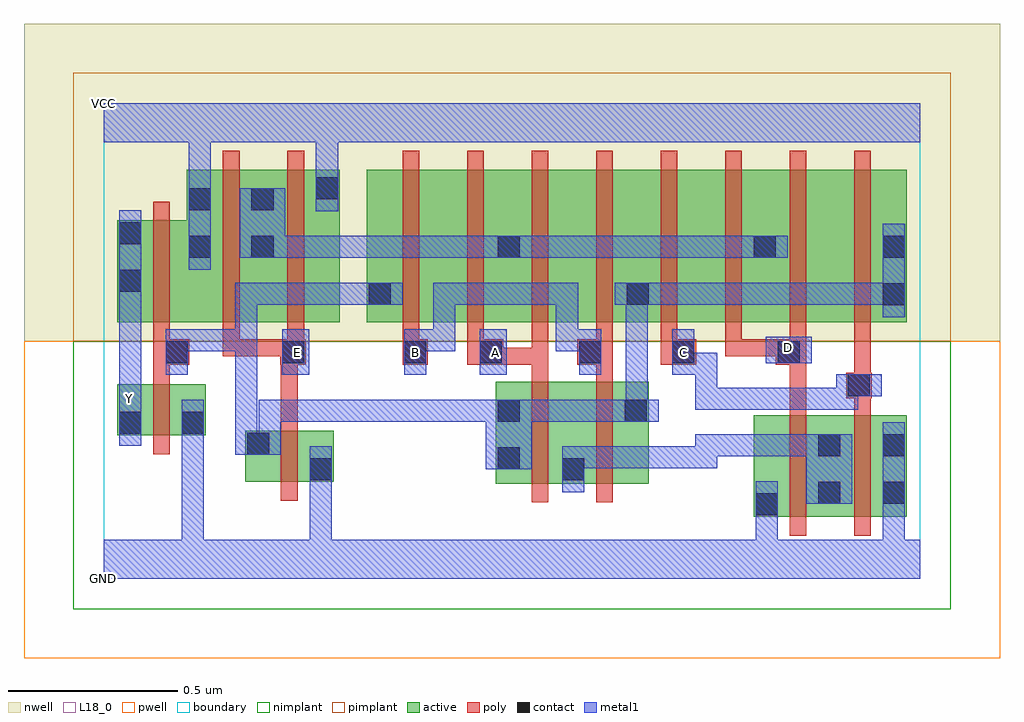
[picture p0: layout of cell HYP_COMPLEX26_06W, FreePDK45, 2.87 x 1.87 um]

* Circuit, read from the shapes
.subckt HYP_COMPLEX26_06W A B C D E GND VCC Y
M1 GND n1 Y VSUBS nfet w=0.15u l=0.05u
M2 GND E n1 VSUBS nfet w=0.15u l=0.05u
M3 n2 A n1 VSUBS nfet w=0.3u l=0.05u
M4 n1 B n2 VSUBS nfet w=0.3u l=0.05u
M5 n2 D GND VSUBS nfet w=0.3u l=0.05u
M6 GND C n2 VSUBS nfet w=0.3u l=0.05u
M7 VCC n1 Y n3 pfet w=0.3u l=0.05u
M8 n4 E VCC n3 pfet w=0.45u l=0.05u m=2
M9 n5 B n1 n3 pfet w=0.45u l=0.05u
M10 n4 A n5 n3 pfet w=0.45u l=0.05u
M11 n6 A n4 n3 pfet w=0.45u l=0.05u
M12 n1 B n6 n3 pfet w=0.45u l=0.05u
M13 n7 C n1 n3 pfet w=0.45u l=0.05u
M14 n4 D n7 n3 pfet w=0.45u l=0.05u
M15 n8 D n4 n3 pfet w=0.45u l=0.05u
M16 n1 C n8 n3 pfet w=0.45u l=0.05u
.ends

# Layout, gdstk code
import gdstk
lib = gdstk.Library(unit=1e-6, precision=1e-09)
def R(c, l, rs):  # rectangles x0, y0, x1, y1
    for r in rs: c.add(gdstk.rectangle(r[:2], r[2:], *l))
def A(c, l, x, y, w, h, nx, ny, dx, dy):  # array of equal rectangles
    R(c, l, [(x+i*dx, y+j*dy, x+i*dx+w, y+j*dy+h) for i in range(nx) for j in range(ny)])
active = (1, 0)
pwell = (2, 0)
nwell = (3, 0)
nimplant = (4, 0)
pimplant = (5, 0)
poly = (9, 0)
contact = (10, 0)
metal1 = (11, 0)
L18_0 = (18, 0)
boundary = (235, 0)

hyp_complex26_06w = lib.new_cell('HYP_COMPLEX26_06W')
A(hyp_complex26_06w, active, 0.775, 0.755, 0.225, 0.45, 3, 1, 0.38, 0)
R(hyp_complex26_06w, active, [(1.915,0.182,2.175,0.482), (1.915,0.182,1.99,0.392), (2.1,0.182,2.365,0.482), (2.29,0.182,2.365,0.482), (2.1,0.2,2.175,0.43), (1.155,0.28,1.23,0.58), (1.155,0.28,1.42,0.58), (1.345,0.28,1.605,0.58), (1.345,0.28,1.42,0.392), (0.417,0.285,0.492,0.435), (0.417,0.285,0.677,0.435), (0.602,0.285,0.677,0.435), (1.53,0.33,1.605,0.58), (0.04,0.422,0.115,0.572), (0.04,0.422,0.3,0.572), (0.225,0.422,0.3,0.572), (0.04,0.755,0.115,1.055), (0.04,0.755,0.32,1.055), (0.245,0.755,0.505,1.205), (0.245,0.755,0.32,1.205), (0.43,0.755,0.505,1.2), (0.43,0.755,0.695,1.205), (0.775,0.755,0.88,1.047), (1,0.755,1.23,1.205), (1.155,0.755,1.23,1.2), (1.38,0.755,1.61,1.205), (1.535,0.755,1.61,1.07), (1.76,0.755,1.985,1.205), (1.91,0.755,1.985,1.2), (1.91,0.755,2.14,1.205), (2.14,0.755,2.365,1.205), (2.29,0.755,2.365,1.2), (0.62,0.857,0.695,1.205)])
R(hyp_complex26_06w, pwell, [(-0.235,-0.235,2.64,0.7)])
R(hyp_complex26_06w, nwell, [(-0.235,0.7,2.64,1.635)])
R(hyp_complex26_06w, nimplant, [(-0.09,-0.09,2.495,0.7)])
R(hyp_complex26_06w, pimplant, [(-0.09,0.7,2.495,1.49)])
A(hyp_complex26_06w, poly, 1.45, 0.655, 0.05, 0.095, 4, 1, 0.19, 0)
A(hyp_complex26_06w, poly, 0.88, 0.7, 0.05, 0.56, 8, 1, 0.19, 0)
R(hyp_complex26_06w, poly, [(2.02,0.127,2.07,0.537), (2.21,0.127,2.26,0.537), (1.26,0.225,1.31,0.635), (1.45,0.225,1.5,0.635), (0.522,0.23,0.572,0.49), (0.145,0.367,0.195,0.627), (0.522,0.44,0.572,0.68), (2.02,0.487,2.07,0.68), (2.21,0.487,2.26,0.582), (2.187,0.532,2.262,0.607), (2.21,0.557,2.26,0.75), (0.145,0.577,0.195,0.68), (1.26,0.585,1.31,0.68), (1.45,0.585,1.5,0.68), (0.145,0.63,0.252,0.705), (0.52,0.63,0.595,0.705), (0.88,0.63,0.955,0.705), (1.07,0.63,1.177,0.705), (1.127,0.63,1.177,0.68), (1.127,0.63,1.177,0.68), (1.127,0.63,1.31,0.68), (1.26,0.63,1.31,0.68), (1.26,0.63,1.31,0.75), (1.395,0.63,1.5,0.705), (1.64,0.63,1.745,0.705), (1.98,0.63,2.07,0.705), (0.145,0.655,0.195,0.75), (0.35,0.655,0.4,0.75), (0.35,0.655,0.4,0.705), (0.35,0.655,0.4,0.705), (0.35,0.655,0.4,0.705), (0.35,0.655,0.57,0.705), (0.54,0.655,0.59,0.75), (0.88,0.655,0.93,0.75), (1.07,0.655,1.12,0.75), (1.83,0.655,1.88,0.705), (1.83,0.655,2.03,0.705), (1.98,0.655,2.03,0.705), (1.98,0.655,2.03,0.705), (0.145,0.7,0.195,1.11), (0.35,0.7,0.4,1.26), (0.54,0.7,0.59,1.26)])
R(hyp_complex26_06w, contact, [(1.92,0.187,1.985,0.252), (2.105,0.22,2.17,0.285), (2.295,0.22,2.36,0.285), (0.607,0.29,0.672,0.355), (1.35,0.29,1.415,0.355), (1.16,0.322,1.225,0.387), (2.105,0.36,2.17,0.425), (2.295,0.36,2.36,0.425), (0.422,0.365,0.487,0.43), (0.045,0.427,0.11,0.492), (0.23,0.427,0.295,0.492), (1.16,0.462,1.225,0.527), (1.535,0.462,1.6,0.527), (2.192,0.537,2.257,0.602), (0.182,0.635,0.247,0.7), (0.525,0.635,0.59,0.7), (0.885,0.635,0.95,0.7), (1.107,0.635,1.172,0.7), (1.4,0.635,1.465,0.7), (1.675,0.635,1.74,0.7), (1.985,0.635,2.05,0.7), (2.295,0.805,2.36,0.87), (0.78,0.807,0.845,0.872), (1.54,0.807,1.605,0.872), (0.045,0.845,0.11,0.91), (0.25,0.945,0.315,1.01), (0.435,0.945,0.5,1.01), (1.16,0.945,1.225,1.01), (1.915,0.945,1.98,1.01), (2.295,0.945,2.36,1.01), (0.045,0.985,0.11,1.05), (0.25,1.085,0.315,1.15), (0.435,1.085,0.5,1.15), (0.625,1.117,0.69,1.182)])
R(hyp_complex26_06w, metal1, [(0,0,2.405,0.115), (0.23,0.05,0.295,0.115), (0.23,0.05,0.295,0.115), (0.23,0.05,0.295,0.115), (0.23,0.05,0.295,0.115), (0.23,0.05,0.295,0.115), (0.23,0.05,0.295,0.115), (0.23,0.05,0.295,0.457), (0.607,0.05,0.672,0.32), (1.92,0.05,1.985,0.217), (2.295,0.05,2.36,0.115), (2.295,0.05,2.36,0.115), (2.295,0.05,2.36,0.115), (2.295,0.05,2.36,0.115), (2.295,0.05,2.36,0.25), (1.92,0.152,1.985,0.217), (1.92,0.152,1.985,0.217), (1.92,0.152,1.985,0.217), (1.92,0.152,1.985,0.217), (1.92,0.152,1.985,0.287), (2.295,0.185,2.36,0.46), (2.07,0.22,2.205,0.425), (0.607,0.255,0.672,0.32), (0.607,0.255,0.672,0.32), (0.607,0.255,0.672,0.32), (0.607,0.255,0.672,0.32), (0.607,0.255,0.672,0.32), (0.607,0.255,0.672,0.32), (0.607,0.255,0.672,0.39), (1.35,0.255,1.415,0.39), (1.125,0.322,1.26,0.527), (1.35,0.325,1.415,0.39), (1.35,0.325,1.415,0.39), (1.35,0.325,1.602,0.39), (1.537,0.325,1.602,0.39), (1.537,0.325,1.602,0.39), (1.537,0.325,1.602,0.39), (1.537,0.325,1.807,0.39), (1.742,0.325,1.807,0.425), (1.742,0.36,1.877,0.425), (1.812,0.36,1.877,0.425), (1.812,0.36,1.997,0.425), (1.932,0.36,1.997,0.425), (1.932,0.36,2.085,0.425), (2.02,0.36,2.085,0.425), (2.02,0.36,2.135,0.425), (0.387,0.365,0.522,0.43), (0.387,0.365,0.452,0.735), (0.457,0.365,0.522,0.43), (0.457,0.365,0.522,0.527), (0.045,0.392,0.11,0.527), (0.23,0.392,0.295,0.527), (0.045,0.462,0.11,0.527), (0.045,0.462,0.11,0.597), (0.457,0.462,0.672,0.527), (0.607,0.462,0.672,0.527), (0.607,0.462,0.81,0.527), (0.745,0.462,0.81,0.527), (0.745,0.462,0.81,0.527), (0.745,0.462,0.81,0.527), (0.745,0.462,1.035,0.527), (0.97,0.462,1.035,0.527), (0.97,0.462,1.087,0.527), (1.022,0.462,1.087,0.527), (1.022,0.462,1.19,0.527), (1.195,0.462,1.26,0.527), (1.195,0.462,1.26,0.527), (1.195,0.462,1.397,0.527), (1.332,0.462,1.397,0.527), (1.332,0.462,1.397,0.527), (1.332,0.462,1.397,0.527), (1.332,0.462,1.565,0.527), (1.5,0.462,1.635,0.527), (1.537,0.462,1.602,0.872), (1.742,0.497,1.807,0.562), (1.742,0.497,1.877,0.562), (1.742,0.497,1.807,0.665), (1.812,0.497,1.877,0.562), (1.812,0.497,1.997,0.562), (1.932,0.497,1.997,0.562), (1.932,0.497,2.015,0.562), (1.95,0.497,2.015,0.562), (1.95,0.497,2.222,0.562), (2.157,0.497,2.222,0.562), (2.157,0.497,2.222,0.602), (0.045,0.532,0.11,0.875), (2.157,0.537,2.222,0.602), (2.157,0.537,2.222,0.602), (2.157,0.537,2.292,0.602), (0.182,0.6,0.247,0.735), (0.525,0.6,0.605,0.735), (0.885,0.6,0.95,0.735), (1.107,0.6,1.187,0.735), (1.4,0.6,1.465,0.735), (1.675,0.6,1.74,0.735), (1.675,0.6,1.807,0.665), (1.742,0.6,1.807,0.665), (1.95,0.635,2.085,0.712), (0.182,0.67,0.247,0.735), (0.182,0.67,0.247,0.735), (0.182,0.67,0.385,0.735), (0.32,0.67,0.385,0.735), (0.32,0.67,0.452,0.735), (0.387,0.67,0.452,0.735), (0.387,0.67,0.452,0.872), (0.885,0.67,1.035,0.735), (0.97,0.67,1.035,0.735), (0.97,0.67,1.035,0.872), (1.332,0.67,1.397,0.735), (1.332,0.67,1.465,0.735), (1.332,0.67,1.397,0.872), (2.295,0.77,2.36,1.045), (0.387,0.807,0.452,0.872), (0.387,0.807,0.672,0.872), (0.607,0.807,0.672,0.872), (0.607,0.807,0.672,0.872), (0.607,0.807,0.672,0.872), (0.607,0.807,0.81,0.872), (0.745,0.807,0.88,0.872), (0.97,0.807,1.035,0.872), (0.97,0.807,1.087,0.872), (1.022,0.807,1.087,0.872), (1.022,0.807,1.225,0.872), (1.16,0.807,1.225,0.872), (1.16,0.807,1.225,0.872), (1.16,0.807,1.225,0.872), (1.16,0.807,1.397,0.872), (1.332,0.807,1.397,0.872), (1.505,0.807,1.64,0.872), (1.537,0.807,1.602,0.872), (1.537,0.807,1.602,0.872), (1.575,0.807,1.64,0.872), (1.575,0.807,1.64,0.872), (1.575,0.807,1.777,0.872), (1.712,0.807,1.777,0.872), (1.712,0.807,1.877,0.872), (1.812,0.807,1.877,0.872), (1.812,0.807,1.997,0.872), (1.932,0.807,1.997,0.872), (1.932,0.807,2.015,0.872), (1.95,0.807,2.015,0.872), (1.95,0.807,2.222,0.872), (2.157,0.807,2.222,0.872), (2.157,0.807,2.36,0.872), (2.295,0.807,2.36,0.872), (2.295,0.807,2.36,0.872), (0.045,0.81,0.11,1.085), (0.25,0.91,0.315,1.185), (0.4,0.945,0.535,1.15), (0.47,0.945,0.535,1.01), (0.47,0.945,0.535,1.01), (0.47,0.945,0.672,1.01), (0.607,0.945,0.672,1.01), (0.607,0.945,0.897,1.01), (0.832,0.945,0.897,1.01), (0.832,0.945,0.897,1.01), (0.832,0.945,0.897,1.01), (0.832,0.945,1.035,1.01), (0.97,0.945,1.035,1.01), (0.97,0.945,1.087,1.01), (1.022,0.945,1.087,1.01), (1.022,0.945,1.19,1.01), (1.125,0.945,1.26,1.01), (1.195,0.945,1.26,1.01), (1.195,0.945,1.26,1.01), (1.195,0.945,1.427,1.01), (1.362,0.945,1.427,1.01), (1.362,0.945,1.427,1.01), (1.362,0.945,1.427,1.01), (1.362,0.945,1.602,1.01), (1.537,0.945,1.602,1.01), (1.537,0.945,1.602,1.01), (1.537,0.945,1.602,1.01), (1.537,0.945,1.777,1.01), (1.712,0.945,1.777,1.01), (1.712,0.945,1.877,1.01), (1.812,0.945,1.877,1.01), (1.812,0.945,1.945,1.01), (1.88,0.945,2.015,1.01), (0.625,1.082,0.69,1.217), (0.25,1.12,0.315,1.35), (0.625,1.152,0.69,1.35), (0,1.285,2.405,1.4)])
R(hyp_complex26_06w, L18_0, [(0,0,2.405,0.115), (0.23,0.05,0.295,0.115), (0.23,0.05,0.295,0.115), (0.23,0.05,0.295,0.115), (0.23,0.05,0.295,0.115), (0.23,0.05,0.295,0.115), (0.23,0.05,0.295,0.115), (0.23,0.05,0.295,0.457), (0.607,0.05,0.672,0.32), (1.92,0.05,1.985,0.217), (2.295,0.05,2.36,0.115), (2.295,0.05,2.36,0.115), (2.295,0.05,2.36,0.115), (2.295,0.05,2.36,0.115), (2.295,0.05,2.36,0.25), (1.92,0.152,1.985,0.287), (1.92,0.152,1.985,0.217), (1.92,0.152,1.985,0.217), (1.92,0.152,1.985,0.217), (1.92,0.152,1.985,0.217), (2.295,0.185,2.36,0.46), (0.607,0.255,0.672,0.39), (0.607,0.255,0.672,0.32), (0.607,0.255,0.672,0.32), (0.607,0.255,0.672,0.32), (0.607,0.255,0.672,0.32), (0.607,0.255,0.672,0.32), (0.607,0.255,0.672,0.32), (0.045,0.392,0.11,0.527), (0.23,0.392,0.295,0.527), (0.045,0.462,0.11,0.597), (0.045,0.462,0.11,0.527), (0.045,0.497,0.11,0.562), (1.742,0.497,1.807,0.562), (1.742,0.497,1.807,0.665), (1.742,0.497,1.877,0.562), (1.812,0.497,1.877,0.562), (1.812,0.497,1.997,0.562), (1.932,0.497,1.997,0.562), (1.932,0.497,2.015,0.562), (1.95,0.497,2.015,0.562), (1.95,0.497,2.222,0.562), (2.157,0.497,2.222,0.562), (2.157,0.497,2.222,0.602), (0.045,0.532,0.11,0.875), (2.157,0.537,2.222,0.602), (2.157,0.537,2.222,0.602), (2.157,0.537,2.292,0.602), (0.525,0.6,0.605,0.735), (0.885,0.6,0.95,0.735), (1.107,0.6,1.187,0.735), (1.4,0.6,1.465,0.735), (1.675,0.6,1.74,0.735), (1.675,0.6,1.807,0.665), (1.742,0.6,1.807,0.665), (0.54,0.635,0.605,0.7), (0.885,0.635,0.95,0.7), (1.122,0.635,1.187,0.7), (1.675,0.635,1.74,0.7), (1.95,0.635,2.085,0.712), (1.985,0.647,2.05,0.712), (0.885,0.67,1.035,0.735), (0.97,0.67,1.035,0.735), (0.97,0.67,1.035,0.872), (1.332,0.67,1.397,0.735), (1.332,0.67,1.397,0.872), (1.332,0.67,1.465,0.735), (0.97,0.807,1.035,0.872), (0.97,0.807,1.087,0.872), (1.022,0.807,1.087,0.872), (1.022,0.807,1.225,0.872), (1.16,0.807,1.225,0.872), (1.16,0.807,1.225,0.872), (1.16,0.807,1.225,0.872), (1.16,0.807,1.397,0.872), (1.332,0.807,1.397,0.872), (0.045,0.81,0.11,1.085), (0.25,0.91,0.315,1.185), (0.625,1.082,0.69,1.217), (0.25,1.12,0.315,1.35), (0.625,1.152,0.69,1.35), (0,1.285,2.405,1.4)])
R(hyp_complex26_06w, boundary, [(0,0,2.405,1.4)])
hyp_complex26_06w.add(gdstk.Label('A', (1.155,0.667), layer=11, texttype=0))
hyp_complex26_06w.add(gdstk.Label('B', (0.917,0.667), layer=11, texttype=0))
hyp_complex26_06w.add(gdstk.Label('C', (1.707,0.667), layer=11, texttype=0))
hyp_complex26_06w.add(gdstk.Label('D', (2.017,0.68), layer=11, texttype=0))
hyp_complex26_06w.add(gdstk.Label('E', (0.572,0.667), layer=11, texttype=0))
hyp_complex26_06w.add(gdstk.Label('Y', (0.077,0.53), layer=11, texttype=0))
hyp_complex26_06w.add(gdstk.Label('VCC', (0,1.4), layer=11, texttype=0))
hyp_complex26_06w.add(gdstk.Label('GND', (0,0), layer=11, texttype=0))

lib.write_gds('HYP_COMPLEX26_06W.gds')
